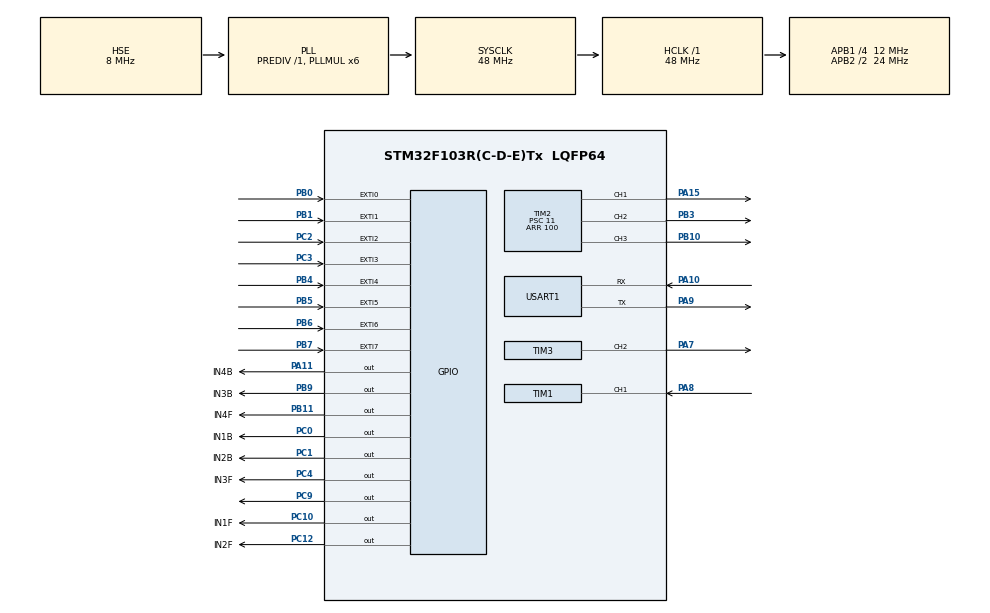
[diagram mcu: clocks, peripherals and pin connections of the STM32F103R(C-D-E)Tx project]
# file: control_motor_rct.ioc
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Mcu.Family=STM32F1
Mcu.Name=STM32F103R(C-D-E)Tx
Mcu.Package=LQFP64
NVIC.EXTI0_IRQn=true\:0\:0\:false\:false\:true\:true\:true\:true
NVIC.EXTI1_IRQn=true\:0\:0\:false\:false\:true\:true\:true\:true
NVIC.EXTI4_IRQn=true\:0\:0\:false\:false\:true\:true\:true\:true
NVIC.EXTI9_5_IRQn=true\:0\:0\:false\:false\:true\:true\:true\:true
NVIC.PriorityGroup=NVIC_PRIORITYGROUP_4
NVIC.TIM1_CC_IRQn=true\:0\:0\:false\:false\:true\:true\:true\:true
NVIC.TIM4_IRQn=true\:0\:0\:false\:false\:true\:true\:true\:true
NVIC.TIM5_IRQn=true\:0\:0\:false\:false\:true\:true\:true\:true
NVIC.USART1_IRQn=true\:0\:0\:false\:false\:true\:true\:true\:true
PA10.Mode=Asynchronous
PA10.Signal=USART1_RX
PA11.GPIO_Label=IN4B
PA11.Signal=GPIO_Output
PA13.Mode=Serial_Wire
PA13.Signal=SYS_JTMS-SWDIO
PA14.Mode=Serial_Wire
PA14.Signal=SYS_JTCK-SWCLK
PA15.Signal=S_TIM2_CH1_ETR
PA7.Signal=S_TIM3_CH2
PA8.Signal=S_TIM1_CH1
PA9.Mode=Asynchronous
PA9.Signal=USART1_TX
PB0.GPIO_ModeDefaultEXTI=GPIO_MODE_IT_RISING_FALLING
PB0.GPIO_PuPd=GPIO_PULLUP
PB0.Signal=GPXTI0
PB1.GPIO_ModeDefaultEXTI=GPIO_MODE_IT_RISING_FALLING
PB1.GPIO_PuPd=GPIO_PULLUP
PB1.Signal=GPXTI1
PB10.Signal=S_TIM2_CH3
PB11.GPIO_Label=IN4F
PB11.Signal=GPIO_Output
PB3.Signal=S_TIM2_CH2
PB4.GPIO_ModeDefaultEXTI=GPIO_MODE_IT_RISING_FALLING
PB4.GPIO_PuPd=GPIO_PULLUP
PB4.Signal=GPXTI4
PB5.GPIO_ModeDefaultEXTI=GPIO_MODE_IT_RISING_FALLING
PB5.GPIO_PuPd=GPIO_PULLUP
PB5.Signal=GPXTI5
PB6.GPIO_ModeDefaultEXTI=GPIO_MODE_IT_RISING_FALLING
PB6.GPIO_PuPd=GPIO_PULLUP
PB6.Signal=GPXTI6
PB7.GPIO_ModeDefaultEXTI=GPIO_MODE_IT_RISING_FALLING
PB7.GPIO_PuPd=GPIO_PULLUP
PB7.Signal=GPXTI7
PB9.GPIO_Label=IN3B
PB9.Signal=GPIO_Output
PC0.GPIO_Label=IN1B
PC0.Signal=GPIO_Output
PC1.GPIO_Label=IN2B
PC1.Signal=GPIO_Output
PC10.GPIO_Label=IN1F
PC10.Signal=GPIO_Output
PC12.GPIO_Label=IN2F
PC12.Signal=GPIO_Output
PC2.GPIO_ModeDefaultEXTI=GPIO_MODE_IT_RISING_FALLING
PC2.GPIO_PuPd=GPIO_PULLUP
PC2.Signal=GPXTI2
PC3.GPIO_ModeDefaultEXTI=GPIO_MODE_IT_RISING_FALLING
PC3.GPIO_PuPd=GPIO_PULLUP
PC3.Signal=GPXTI3
PC4.GPIO_Label=IN3F
PC4.Signal=GPIO_Output
PC9.GPIO_PuPd=GPIO_PULLDOWN
PC9.Signal=GPIO_Output
PD0-OSC_IN.Mode=HSE-External-Oscillator
PD0-OSC_IN.Signal=RCC_OSC_IN
PD1-OSC_OUT.Mode=HSE-External-Oscillator
PD1-OSC_OUT.Signal=RCC_OSC_OUT
ProjectManager.HeapSize=0x200
ProjectManager.StackSize=0x400
ProjectManager.TargetToolchain=MDK-ARM V5.32
RCC.AHBFreq_Value=48000000
RCC.APB1CLKDivider=RCC_HCLK_DIV4
RCC.APB1Freq_Value=12000000
RCC.APB1TimFreq_Value=24000000
RCC.APB2CLKDivider=RCC_HCLK_DIV2
RCC.APB2Freq_Value=24000000
RCC.APB2TimFreq_Value=48000000
RCC.HCLKFreq_Value=48000000
RCC.PLLMUL=RCC_PLL_MUL6
RCC.PLLSourceVirtual=RCC_PLLSOURCE_HSE
RCC.SYSCLKFreq_VALUE=48000000
RCC.SYSCLKSource=RCC_SYSCLKSOURCE_PLLCLK
RCC.USBFreq_Value=48000000
SH.S_TIM1_CH1.0=TIM1_CH1,Input_Capture1_from_TI1
SH.S_TIM2_CH1_ETR.0=TIM2_CH1,PWM Generation1 CH1
SH.S_TIM2_CH2.0=TIM2_CH2,PWM Generation2 CH2
SH.S_TIM2_CH3.0=TIM2_CH3,PWM Generation3 CH3
SH.S_TIM3_CH2.0=TIM3_CH2,PWM Generation2 CH2
TIM1.Channel-Input_Capture1_from_TI1=TIM_CHANNEL_1
TIM1.Period=0xffff-1
TIM1.Prescaler=48-1
TIM2.Channel-PWM\ Generation1\ CH1=TIM_CHANNEL_1
TIM2.Channel-PWM\ Generation2\ CH2=TIM_CHANNEL_2
TIM2.Channel-PWM\ Generation3\ CH3=TIM_CHANNEL_3
TIM2.Period=100
TIM2.Prescaler=11
TIM3.Channel-PWM\ Generation2\ CH2=TIM_CHANNEL_2
TIM3.Period=100
TIM3.Prescaler=11
TIM4.Period=4
TIM4.Prescaler=23999
TIM5.Period=4
TIM5.Prescaler=23999
USART1.VirtualMode=VM_ASYNC
VP_TIM1_VS_ClockSourceINT.Mode=Internal
VP_TIM4_VS_ClockSourceINT.Mode=Internal
VP_TIM5_VS_ClockSourceINT.Mode=Internal
board=custom

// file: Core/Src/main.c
/* USER CODE BEGIN Header */
/**
  ******************************************************************************
  * @file           : main.c
  * @brief          : Main program body
  ******************************************************************************
  * @attention
  *
  * Copyright (c) 2024 STMicroelectronics.
  * All rights reserved.
  *
  * This software is licensed under terms that can be found in the LICENSE file
  * in the root directory of this software component.
  * If no LICENSE file comes with this software, it is provided AS-IS.
  *
  ******************************************************************************
  */
/* USER CODE END Header */
#include "main.h"
/* USER CODE BEGIN Includes */
#include "string.h"
#include "stdio.h"
#include "stdlib.h"
#include "stdbool.h"
#include "global.h"
#include "math.h"
#include "gp_drive.h"
#include "front_right.h"
#include "front_left.h"
#include "behind_right.h"
#include "behind_left.h"
//#include "HC_SR04.h"
/* USER CODE END Includes */

/* USER CODE BEGIN PTD */
#define pi 3.1415
#define p2r pi/2000
//#define Kp 33.54

#define alpha 0.0
//#define Kb 1.49
#define sampletime 0.01

#define UP 1
#define DOWN 2
#define LEFT 3
#define RIGHT 4
#define UP_LEFT 5
#define UP_RIGHT 6
#define DOWN_LEFT 7
#define DOWN_RIGHT 8
/* USER CODE END PTD */

TIM_HandleTypeDef htim1;
TIM_HandleTypeDef htim2;
TIM_HandleTypeDef htim3;
TIM_HandleTypeDef htim4;
TIM_HandleTypeDef htim5;

UART_HandleTypeDef huart1;

/* USER CODE BEGIN PV */
int16_t  HILIM =100, LOLIM=0;
char Rx_indx, Rx_Buffer[20],Rx_data[2];
int volatile direction=77;
bool directionset;
Motor motors[4];
//uint8_t received_data;
char received_data[25];

uint16_t Distance = 0;
int aviod_sensor[4];
/* USER CODE END PV */

void SystemClock_Config(void);
static void MX_GPIO_Init(void);
static void MX_TIM2_Init(void);
static void MX_TIM3_Init(void);
static void MX_TIM4_Init(void);
static void MX_TIM5_Init(void);
static void MX_USART1_UART_Init(void);
static void MX_TIM1_Init(void);
/* USER CODE BEGIN PFP */
void HAL_TIM_MspPostInit(TIM_HandleTypeDef *htim);
int SetVelLow(float CurrentPos, float Pos);
int SetVelMid(float CurrentPos, float Pos, float CurrentVel);
int SetVelHigh(float CurrentPos, float Pos, float CurrentVel);
void calculateWheelSpeeds(double vx, double vy, double wz, double lx, double ly, double r, double* wheelSpeeds);
//uint8_t data [] = "vllll\n";
/* USER CODE END PFP */

/* USER CODE BEGIN 0 */

#ifdef __GNUC__
	#define PUTCHAR_PROTOTYPE int __io_putchar(int ch)
#else
	#define PUTCHAR_PROTOTYPE int fputc(int ch, FILE *f)
	#define GETCHAR_PROTOTYPE int fgetc(FILE *f)
#endif

void setSpeedAll(float speed ) {
    for (int i = 0; i < 4; i++) {
			if(directionset)
        motors[i].DesiredSpeed = speed;
    }
}

void setSpeed(float speed, int motor1, int motor2) {
        motors[motor1].DesiredSpeed = speed;
        motors[motor2].DesiredSpeed = speed;
}

void forward(void){
	for (int i = 0; i < 4; i++) {
    motors[i].dir = 1;
	}
	directionset = true;
}

void backward(void){
	for (int i = 0; i < 4; i++) {
    motors[i].dir = 0;
	}
	directionset = true;
}

void right(void){
	motors[0].dir = 0;
	motors[1].dir = 1;
	motors[2].dir = 1;
	motors[3].dir = 0;
	directionset = true;

}

void left(void){
	motors[0].dir = 1;
	motors[1].dir = 0;
	motors[2].dir = 0;
	motors[3].dir = 1;
	directionset = true;
}

void up_right(void){
	motors[1].dir = 1;
	motors[2].dir = 1;
	directionset = true;
}

void up_left(void){
	motors[0].dir = 1;
	motors[3].dir = 1;
	directionset = true;
}

void down_right(void){
	motors[1].dir = 0;
	motors[2].dir = 0;
	directionset = true;
}

void down_left(void){
	motors[0].dir = 0;
	motors[3].dir = 0;
	directionset = true;
}

void cw(void){
	motors[0].dir = 0;
	motors[1].dir = 0;
	motors[2].dir = 1;
	motors[3].dir = 1;
	directionset = true;
}
void ccw(void){
	motors[0].dir = 1;
	motors[1].dir = 1;
	motors[2].dir = 0;
	motors[3].dir = 0;
	directionset = true;
}

void config_EXTI(){
	AFIO->EXTICR[0] |= (1<<9)|(1<<13);
	EXTI->IMR |= (1<<2)|(1<<3);
	EXTI->EMR |= (1<<2)|(1<<3);
	EXTI->FTSR |= (1<<2)|(1<<3);
	EXTI->RTSR |= (1<<2)|(1<<3);

	NVIC_EnableIRQ(EXTI2_IRQn);
	NVIC_EnableIRQ(EXTI3_IRQn);
}

	// PI Controller
int PIDVel(int i, float DesiredValue, float CurrentValue) {
    if (motors[i].Ki == 0) motors[i].Kb = 0;
    motors[i].err = DesiredValue - CurrentValue;
    motors[i].up = motors[i].Kp * motors[i].err;

    motors[i].ui = motors[i].ui_p + motors[i].Ki * motors[i].err * sampletime + motors[i].Kb * motors[i].eReset * sampletime;

    motors[i].ui_p = motors[i].ui;

    motors[i].uout = (motors[i].up + motors[i].ui);
    motors[i].uHat = motors[i].uout;

    if (motors[i].uout > HILIM) {
        motors[i].uHat = HILIM;
    } else if (motors[i].uout < LOLIM) {
        motors[i].uHat = LOLIM;
    }

    motors[i].eReset = motors[i].uHat - motors[i].uout;
    return (int)round(motors[i].uHat);
}

void HAL_TIM_PeriodElapsedCallback(TIM_HandleTypeDef *htim) {	// ngat timer 4 tinh van toc
	for (int i = 0; i < 4; i++){
	//int i =1;
	if(htim->Instance==TIM4)	// ngat do timer 4	5ms
	{
		motors[i].Cnttmp = motors[i].CntVel;    // so xung trong 10ms  // 1s ngat 200 lan
		motors[i].CntVel = 0;
		motors[i].RealVel = (float)motors[i].Cnttmp*(12000.0/7392.0);			//cnttmp*(60000/N)				//RPM
		// 200*cnttmp*60 = 6000 ppm
		motors[i].CurVel = motors[i].Cnttmp*25*pi/462;								//rad/s    //(cnttmp*2pi)/7392*0.005
		//motors[i].CurVel = (motors[i].RealVel * 2*pi)/60;

		motors[i].pwm = PIDVel (i, fabs(motors[i].DesiredSpeed), motors[i].CurVel);
		//motors[i].pwm = (int)motors[i].DesiredSpeed;
		//if( flag ==1) pwm =0;
		if (motors[i].DesiredSpeed < 0){
			switch (i){
				case 0:
						HAL_GPIO_WritePin(GPIOC,IN1F_Pin, GPIO_PIN_RESET);
						HAL_GPIO_WritePin(GPIOC,IN2F_Pin, GPIO_PIN_SET);
					__HAL_TIM_SetCompare(&htim2,TIM_CHANNEL_2,motors[i].pwm); 	// set pwm
						break;
				case 1:
						HAL_GPIO_WritePin(GPIOC,IN3F_Pin, GPIO_PIN_RESET);
						HAL_GPIO_WritePin(GPIOB,IN4F_Pin, GPIO_PIN_SET);
					__HAL_TIM_SetCompare(&htim2,TIM_CHANNEL_3,motors[i].pwm); 	// set pwm
						break;

				case 2:
						HAL_GPIO_WritePin(GPIOC,IN1B_Pin, GPIO_PIN_SET);
						HAL_GPIO_WritePin(GPIOC,IN2B_Pin, GPIO_PIN_RESET);
					__HAL_TIM_SetCompare(&htim3,TIM_CHANNEL_2,motors[i].pwm); 	// set pwm
						break;
				case 3:
						HAL_GPIO_WritePin(GPIOB,IN3B_Pin, GPIO_PIN_SET);
						HAL_GPIO_WritePin(GPIOA,IN4B_Pin, GPIO_PIN_RESET);
					__HAL_TIM_SetCompare(&htim2,TIM_CHANNEL_1,motors[i].pwm); 	// set pwm
						break;
			}
		}
		else {
			switch (i){
				case 0:
						HAL_GPIO_WritePin(GPIOC,IN1F_Pin, GPIO_PIN_SET);
						HAL_GPIO_WritePin(GPIOC,IN2F_Pin, GPIO_PIN_RESET);
					__HAL_TIM_SetCompare(&htim2,TIM_CHANNEL_2,motors[i].pwm); 	// set pwm
						break;
				case 1:
						HAL_GPIO_WritePin(GPIOC,IN3F_Pin, GPIO_PIN_SET);
						HAL_GPIO_WritePin(GPIOB,IN4F_Pin, GPIO_PIN_RESET);
					__HAL_TIM_SetCompare(&htim2,TIM_CHANNEL_3,motors[i].pwm); 	// set pwm
						break;

				case 2:
						HAL_GPIO_WritePin(GPIOC,IN1B_Pin, GPIO_PIN_RESET);
						HAL_GPIO_WritePin(GPIOC,IN2B_Pin, GPIO_PIN_SET);
					__HAL_TIM_SetCompare(&htim3,TIM_CHANNEL_2,motors[i].pwm); 	// set pwm
						break;
				case 3:
						HAL_GPIO_WritePin(GPIOB,IN3B_Pin, GPIO_PIN_RESET);
						HAL_GPIO_WritePin(GPIOA,IN4B_Pin, GPIO_PIN_SET);
					__HAL_TIM_SetCompare(&htim2,TIM_CHANNEL_1,motors[i].pwm); 	// set pwm
						break;
			}
		}
		//return;
	}
	if(htim->Instance==TIM5)
	{
			motors[i].tick++;
			if (motors[i].run==0){
					motors[i].pwm = 0;
					motors[i].Speedmode =0;
			}
			else if ((motors[i].run==1)&&(motors[i].tick==5)){
				motors[i].tick=0;
			}
	}
}
}

void controlMotors(int direction) {
    switch (direction) {
        case 0:
            forward();
						setSpeedAll(1);
            break;
        case 1:

            backward();
						setSpeedAll(1);
            break;
        case 2:

            right();
						setSpeedAll(1);
            break;
        case 3:

            left();
						setSpeedAll(1);
            break;
        case 8:

            cw();
						setSpeedAll(1);
            break;
        case 9:

            ccw();
						setSpeedAll(1);
            break;

        case 4:
            up_right();
						setSpeed(1, 1, 2);
            break;
        case 5:
            up_left();
						setSpeed(1, 0, 3);
            break;
        case 6:
            down_right();
						setSpeed(1, 0, 3);
            break;
        case 7:
            down_left();
						setSpeed(1, 1, 2);
            break;

        default:

            for (int i = 0; i < 4; i++) {
                motors[i].DesiredSpeed = 0;
            }
            directionset = false;
            break;
    }
}

float value[10];
int count = 0;
void process_string(const char *input, float values[], int *count) {
    char buffer[100];
    strcpy(buffer, input);
    char *token;
    char temp[20] = "";
    float value;
    *count = 0;

    token = strtok(buffer, ",");
    while (token != NULL) {
        if (token[0] == '-' || token[0] == '+') {
            if (strlen(temp) > 0) {
                value = atof(temp);
                values[(*count)++] = value;
            }
            strcpy(temp, token);
        } else {
            strcat(temp, token);
        }

        token = strtok(NULL, ",");
    }
    if (strlen(temp) > 0) {
        value = atof(temp);
        values[(*count)++] = value;
    }
}
volatile int uart_tx_flag = 0;
int check=0;
volatile uint8_t uart_rx_flag = 0;
void HAL_UART_RxCpltCallback(UART_HandleTypeDef *huart) {
    if (huart->Instance == USART1) {
      uart_rx_flag = 1;
			uart_tx_flag = 1;
			check ++;
			HAL_UART_Receive_IT(&huart1, (uint8_t *)received_data, sizeof(received_data));
    }
}
void SendMotorVelocities(void) {
    char Tx_buffer[100]; // Buffer to hold the formatted string
    snprintf(Tx_buffer, sizeof(Tx_buffer), "FR:%.2f,FL:%.2f,BR:%.2f,BL:%.2f\n",
             motors[0].CurVel, motors[1].CurVel, motors[2].CurVel, motors[3].CurVel);

    // Transmit the buffer via UART
    HAL_UART_Transmit(&huart1, (uint8_t*)Tx_buffer, strlen(Tx_buffer), HAL_MAX_DELAY);
}

/* USER CODE END 0 */

int main(void)
{
  /* USER CODE BEGIN 1 */
	RCC->APB2ENR = (1<<3);
	Digital_Input(PB,12);
	Digital_Input(PB,13);
	Digital_Input(PB,14);
	Digital_Input(PB,15);

	GPIOB->BSRR |= GPIO_BSRR_BS12_Msk;
	GPIOB->BSRR |= GPIO_BSRR_BS13_Msk;
	GPIOB->BSRR |= GPIO_BSRR_BS14_Msk;
	GPIOB->BSRR |= GPIO_BSRR_BS15_Msk;

  /* USER CODE END 1 */

  /* MCU Configuration--------------------------------------------------------*/

  /* Reset of all peripherals, Initializes the Flash interface and the Systick. */
  HAL_Init();

  /* Configure the system clock */
  SystemClock_Config();

  /* Initialize all configured peripherals */
  MX_GPIO_Init();
  MX_TIM2_Init();
  MX_TIM3_Init();
  MX_TIM4_Init();
  MX_TIM5_Init();
  MX_USART1_UART_Init();
  MX_TIM1_Init();
	HAL_TIM_IC_Start_IT(&htim1, TIM_CHANNEL_1);
  /* USER CODE BEGIN 2 */

	config_EXTI();
	//HAL_UART_Receive_IT(&huart1,(uint8_t*)Rx_data,1);
	//HAL_UART_Receive_IT(&huart1, &received_data, 1);
	HAL_UART_Receive_IT(&huart1, (uint8_t*)received_data, sizeof(received_data));

	front_right_init();
	front_left_init();
	behind_right_init();
	behind_left_init();
// thong so FR
	  motors[0].Kp = 9.0909;
    motors[0].Ki = 110.4006;
    motors[0].Kb = 12.144;
		// thong so FL
		motors[1].Kp = 10.4545;
    motors[1].Ki = 128.1428;
    motors[1].Kb = 12.2571;

				// thong so BR
	  motors[2].Kp = 10.0;
    motors[2].Ki = 112.2448;
    motors[2].Kb = 11.2244;
		// thong so BL
		motors[3].Kp = 10.0;
    motors[3].Ki = 57.4662;
    motors[3].Kb = 5.7466;
  /* USER CODE END 2 */

  /* Infinite loop */
  /* USER CODE BEGIN WHILE */
	//HAL_UART_Transmit(&huart1, data, sizeof(data),10);

while (1)
  {
		if (uart_rx_flag) {
			uart_rx_flag = 0;

			aviod_sensor[0] = R_GP(PB,12);
			aviod_sensor[1] = R_GP(PB,13);
			aviod_sensor[2] = R_GP(PB,14);
			aviod_sensor[3] = R_GP(PB,15);
			if((aviod_sensor[0] + aviod_sensor[1]) < (aviod_sensor[2] + aviod_sensor[3])){
				motors[0].DesiredSpeed = -3;
				motors[1].DesiredSpeed = 3;
				motors[2].DesiredSpeed = 3;
				motors[3].DesiredSpeed = -3;

				HAL_Delay(2000);
			}
			else if((aviod_sensor[0] + aviod_sensor[1]) > (aviod_sensor[2] + aviod_sensor[3])){
				motors[0].DesiredSpeed = 3;
				motors[1].DesiredSpeed = -3;
				motors[2].DesiredSpeed = -3;
				motors[3].DesiredSpeed = 3;

				HAL_Delay(2000);
			}
			else if (aviod_sensor[0] == 0 && aviod_sensor[1] ==0 && aviod_sensor[2] == 0 && aviod_sensor[3] == 0){
				motors[0].DesiredSpeed = 0;
				motors[1].DesiredSpeed = 0;
				motors[2].DesiredSpeed = 0;
				motors[3].DesiredSpeed = 0;
			}

			else{
			process_string(received_data,value,&count);
			motors[0].DesiredSpeed = value[1];
			motors[1].DesiredSpeed = value[0];
			motors[2].DesiredSpeed = value[3];
			motors[3].DesiredSpeed = value[2];
			memset(received_data, 0, 25);
			}

			HAL_UART_Receive_IT(&huart1, (uint8_t *)received_data, sizeof(received_data));
			}
			if (uart_tx_flag) {
        uart_tx_flag = 0;
        SendMotorVelocities();
			}
    /* USER CODE END WHILE */

  }
}

void SystemClock_Config(void)
{
  RCC_OscInitTypeDef RCC_OscInitStruct = {0};
  RCC_ClkInitTypeDef RCC_ClkInitStruct = {0};

  /** Initializes the RCC Oscillators according to the specified parameters
  * in the RCC_OscInitTypeDef structure.
  */
  RCC_OscInitStruct.OscillatorType = RCC_OSCILLATORTYPE_HSE;
  RCC_OscInitStruct.HSEState = RCC_HSE_ON;
  RCC_OscInitStruct.HSEPredivValue = RCC_HSE_PREDIV_DIV1;
  RCC_OscInitStruct.HSIState = RCC_HSI_ON;
  RCC_OscInitStruct.PLL.PLLState = RCC_PLL_ON;
  RCC_OscInitStruct.PLL.PLLSource = RCC_PLLSOURCE_HSE;
  RCC_OscInitStruct.PLL.PLLMUL = RCC_PLL_MUL6;
  if (HAL_RCC_OscConfig(&RCC_OscInitStruct) != HAL_OK)
  {
    Error_Handler();
  }

  /** Initializes the CPU, AHB and APB buses clocks
  */
  RCC_ClkInitStruct.ClockType = RCC_CLOCKTYPE_HCLK|RCC_CLOCKTYPE_SYSCLK
                              |RCC_CLOCKTYPE_PCLK1|RCC_CLOCKTYPE_PCLK2;
  RCC_ClkInitStruct.SYSCLKSource = RCC_SYSCLKSOURCE_PLLCLK;
  RCC_ClkInitStruct.AHBCLKDivider = RCC_SYSCLK_DIV1;
  RCC_ClkInitStruct.APB1CLKDivider = RCC_HCLK_DIV4;
  RCC_ClkInitStruct.APB2CLKDivider = RCC_HCLK_DIV2;

  if (HAL_RCC_ClockConfig(&RCC_ClkInitStruct, FLASH_LATENCY_1) != HAL_OK)
  {
    Error_Handler();
  }
}

static void MX_TIM1_Init(void)
{

  TIM_ClockConfigTypeDef sClockSourceConfig = {0};
  TIM_MasterConfigTypeDef sMasterConfig = {0};
  TIM_IC_InitTypeDef sConfigIC = {0};

  htim1.Instance = TIM1;
  htim1.Init.Prescaler = 48-1;
  htim1.Init.CounterMode = TIM_COUNTERMODE_UP;
  htim1.Init.Period = 0xffff-1;
  htim1.Init.ClockDivision = TIM_CLOCKDIVISION_DIV1;
  htim1.Init.RepetitionCounter = 0;
  htim1.Init.AutoReloadPreload = TIM_AUTORELOAD_PRELOAD_DISABLE;
  if (HAL_TIM_Base_Init(&htim1) != HAL_OK)
  {
    Error_Handler();
  }
  sClockSourceConfig.ClockSource = TIM_CLOCKSOURCE_INTERNAL;
  if (HAL_TIM_ConfigClockSource(&htim1, &sClockSourceConfig) != HAL_OK)
  {
    Error_Handler();
  }
  if (HAL_TIM_IC_Init(&htim1) != HAL_OK)
  {
    Error_Handler();
  }
  sMasterConfig.MasterOutputTrigger = TIM_TRGO_RESET;
  sMasterConfig.MasterSlaveMode = TIM_MASTERSLAVEMODE_DISABLE;
  if (HAL_TIMEx_MasterConfigSynchronization(&htim1, &sMasterConfig) != HAL_OK)
  {
    Error_Handler();
  }
  sConfigIC.ICPolarity = TIM_INPUTCHANNELPOLARITY_RISING;
  sConfigIC.ICSelection = TIM_ICSELECTION_DIRECTTI;
  sConfigIC.ICPrescaler = TIM_ICPSC_DIV1;
  sConfigIC.ICFilter = 0;
  if (HAL_TIM_IC_ConfigChannel(&htim1, &sConfigIC, TIM_CHANNEL_1) != HAL_OK)
  {
    Error_Handler();
  }

}

static void MX_TIM2_Init(void)
{

  TIM_MasterConfigTypeDef sMasterConfig = {0};
  TIM_OC_InitTypeDef sConfigOC = {0};

  htim2.Instance = TIM2;
  htim2.Init.Prescaler = 11;
  htim2.Init.CounterMode = TIM_COUNTERMODE_UP;
  htim2.Init.Period = 100;
  htim2.Init.ClockDivision = TIM_CLOCKDIVISION_DIV1;
  htim2.Init.AutoReloadPreload = TIM_AUTORELOAD_PRELOAD_DISABLE;
  if (HAL_TIM_PWM_Init(&htim2) != HAL_OK)
  {
    Error_Handler();
  }
  sMasterConfig.MasterOutputTrigger = TIM_TRGO_RESET;
  sMasterConfig.MasterSlaveMode = TIM_MASTERSLAVEMODE_DISABLE;
  if (HAL_TIMEx_MasterConfigSynchronization(&htim2, &sMasterConfig) != HAL_OK)
  {
    Error_Handler();
  }
  sConfigOC.OCMode = TIM_OCMODE_PWM1;
  sConfigOC.Pulse = 0;
  sConfigOC.OCPolarity = TIM_OCPOLARITY_HIGH;
  sConfigOC.OCFastMode = TIM_OCFAST_DISABLE;
  if (HAL_TIM_PWM_ConfigChannel(&htim2, &sConfigOC, TIM_CHANNEL_1) != HAL_OK)
  {
    Error_Handler();
  }
  if (HAL_TIM_PWM_ConfigChannel(&htim2, &sConfigOC, TIM_CHANNEL_2) != HAL_OK)
  {
    Error_Handler();
  }
  if (HAL_TIM_PWM_ConfigChannel(&htim2, &sConfigOC, TIM_CHANNEL_3) != HAL_OK)
  {
    Error_Handler();
  }
  HAL_TIM_MspPostInit(&htim2);

}

static void MX_TIM3_Init(void)
{

  TIM_MasterConfigTypeDef sMasterConfig = {0};
  TIM_OC_InitTypeDef sConfigOC = {0};

  htim3.Instance = TIM3;
  htim3.Init.Prescaler = 11;
  htim3.Init.CounterMode = TIM_COUNTERMODE_UP;
  htim3.Init.Period = 100;
  htim3.Init.ClockDivision = TIM_CLOCKDIVISION_DIV1;
  htim3.Init.AutoReloadPreload = TIM_AUTORELOAD_PRELOAD_DISABLE;
  if (HAL_TIM_PWM_Init(&htim3) != HAL_OK)
  {
    Error_Handler();
  }
  sMasterConfig.MasterOutputTrigger = TIM_TRGO_RESET;
  sMasterConfig.MasterSlaveMode = TIM_MASTERSLAVEMODE_DISABLE;
  if (HAL_TIMEx_MasterConfigSynchronization(&htim3, &sMasterConfig) != HAL_OK)
  {
    Error_Handler();
  }
  sConfigOC.OCMode = TIM_OCMODE_PWM1;
  sConfigOC.Pulse = 0;
  sConfigOC.OCPolarity = TIM_OCPOLARITY_HIGH;
  sConfigOC.OCFastMode = TIM_OCFAST_DISABLE;
  if (HAL_TIM_PWM_ConfigChannel(&htim3, &sConfigOC, TIM_CHANNEL_2) != HAL_OK)
  {
    Error_Handler();
  }
  HAL_TIM_MspPostInit(&htim3);

}

static void MX_TIM4_Init(void)
{

  TIM_ClockConfigTypeDef sClockSourceConfig = {0};
  TIM_MasterConfigTypeDef sMasterConfig = {0};

  htim4.Instance = TIM4;
  htim4.Init.Prescaler = 23999;
  htim4.Init.CounterMode = TIM_COUNTERMODE_UP;
  htim4.Init.Period = 4;
  htim4.Init.ClockDivision = TIM_CLOCKDIVISION_DIV1;
  htim4.Init.AutoReloadPreload = TIM_AUTORELOAD_PRELOAD_DISABLE;
  if (HAL_TIM_Base_Init(&htim4) != HAL_OK)
  {
    Error_Handler();
  }
  sClockSourceConfig.ClockSource = TIM_CLOCKSOURCE_INTERNAL;
  if (HAL_TIM_ConfigClockSource(&htim4, &sClockSourceConfig) != HAL_OK)
  {
    Error_Handler();
  }
  sMasterConfig.MasterOutputTrigger = TIM_TRGO_RESET;
  sMasterConfig.MasterSlaveMode = TIM_MASTERSLAVEMODE_DISABLE;
  if (HAL_TIMEx_MasterConfigSynchronization(&htim4, &sMasterConfig) != HAL_OK)
  {
    Error_Handler();
  }

}

static void MX_TIM5_Init(void)
{

  TIM_ClockConfigTypeDef sClockSourceConfig = {0};
  TIM_MasterConfigTypeDef sMasterConfig = {0};

  htim5.Instance = TIM5;
  htim5.Init.Prescaler = 23999;
  htim5.Init.CounterMode = TIM_COUNTERMODE_UP;
  htim5.Init.Period = 4;
  htim5.Init.ClockDivision = TIM_CLOCKDIVISION_DIV1;
  htim5.Init.AutoReloadPreload = TIM_AUTORELOAD_PRELOAD_DISABLE;
  if (HAL_TIM_Base_Init(&htim5) != HAL_OK)
  {
    Error_Handler();
  }
  sClockSourceConfig.ClockSource = TIM_CLOCKSOURCE_INTERNAL;
  if (HAL_TIM_ConfigClockSource(&htim5, &sClockSourceConfig) != HAL_OK)
  {
    Error_Handler();
  }
  sMasterConfig.MasterOutputTrigger = TIM_TRGO_RESET;
  sMasterConfig.MasterSlaveMode = TIM_MASTERSLAVEMODE_DISABLE;
  if (HAL_TIMEx_MasterConfigSynchronization(&htim5, &sMasterConfig) != HAL_OK)
  {
    Error_Handler();
  }

}

static void MX_USART1_UART_Init(void)
{

  huart1.Instance = USART1;
  huart1.Init.BaudRate = 9600;
  huart1.Init.WordLength = UART_WORDLENGTH_8B;
  huart1.Init.StopBits = UART_STOPBITS_1;
  huart1.Init.Parity = UART_PARITY_NONE;
  huart1.Init.Mode = UART_MODE_TX_RX;
  huart1.Init.HwFlowCtl = UART_HWCONTROL_NONE;
  huart1.Init.OverSampling = UART_OVERSAMPLING_16;
  if (HAL_UART_Init(&huart1) != HAL_OK)
  {
    Error_Handler();
  }

}

static void MX_GPIO_Init(void)
{
  GPIO_InitTypeDef GPIO_InitStruct = {0};

  /* GPIO Ports Clock Enable */
  __HAL_RCC_GPIOD_CLK_ENABLE();
  __HAL_RCC_GPIOC_CLK_ENABLE();
  __HAL_RCC_GPIOA_CLK_ENABLE();
  __HAL_RCC_GPIOB_CLK_ENABLE();

  /*Configure GPIO pin Output Level */
  HAL_GPIO_WritePin(GPIOC, IN1B_Pin|IN2B_Pin|IN3F_Pin|GPIO_PIN_9
                          |IN1F_Pin|IN2F_Pin, GPIO_PIN_RESET);

  /*Configure GPIO pin Output Level */
  HAL_GPIO_WritePin(GPIOB, IN4F_Pin|IN3B_Pin, GPIO_PIN_RESET);

  /*Configure GPIO pin Output Level */
  HAL_GPIO_WritePin(IN4B_GPIO_Port, IN4B_Pin, GPIO_PIN_RESET);

  /*Configure GPIO pins : IN1B_Pin IN2B_Pin IN3F_Pin IN1F_Pin
                           IN2F_Pin */
  GPIO_InitStruct.Pin = IN1B_Pin|IN2B_Pin|IN3F_Pin|IN1F_Pin
                          |IN2F_Pin;
  GPIO_InitStruct.Mode = GPIO_MODE_OUTPUT_PP;
  GPIO_InitStruct.Pull = GPIO_NOPULL;
  GPIO_InitStruct.Speed = GPIO_SPEED_FREQ_LOW;
  HAL_GPIO_Init(GPIOC, &GPIO_InitStruct);

  /*Configure GPIO pins : PC2 PC3 */
  GPIO_InitStruct.Pin = GPIO_PIN_2|GPIO_PIN_3;
  GPIO_InitStruct.Mode = GPIO_MODE_IT_RISING_FALLING;
  GPIO_InitStruct.Pull = GPIO_PULLUP;
  HAL_GPIO_Init(GPIOC, &GPIO_InitStruct);

  /*Configure GPIO pins : PB0 PB1 PB4 PB5
                           PB6 PB7 */
  GPIO_InitStruct.Pin = GPIO_PIN_0|GPIO_PIN_1|GPIO_PIN_4|GPIO_PIN_5
                          |GPIO_PIN_6|GPIO_PIN_7;
  GPIO_InitStruct.Mode = GPIO_MODE_IT_RISING_FALLING;
  GPIO_InitStruct.Pull = GPIO_PULLUP;
  HAL_GPIO_Init(GPIOB, &GPIO_InitStruct);

  /*Configure GPIO pins : IN4F_Pin IN3B_Pin */
  GPIO_InitStruct.Pin = IN4F_Pin|IN3B_Pin;
  GPIO_InitStruct.Mode = GPIO_MODE_OUTPUT_PP;
  GPIO_InitStruct.Pull = GPIO_NOPULL;
  GPIO_InitStruct.Speed = GPIO_SPEED_FREQ_LOW;
  HAL_GPIO_Init(GPIOB, &GPIO_InitStruct);

  /*Configure GPIO pin : PC9 */
  GPIO_InitStruct.Pin = GPIO_PIN_9;
  GPIO_InitStruct.Mode = GPIO_MODE_OUTPUT_PP;
  GPIO_InitStruct.Pull = GPIO_PULLDOWN;
  GPIO_InitStruct.Speed = GPIO_SPEED_FREQ_LOW;
  HAL_GPIO_Init(GPIOC, &GPIO_InitStruct);

  /*Configure GPIO pin : IN4B_Pin */
  GPIO_InitStruct.Pin = IN4B_Pin;
  GPIO_InitStruct.Mode = GPIO_MODE_OUTPUT_PP;
  GPIO_InitStruct.Pull = GPIO_NOPULL;
  GPIO_InitStruct.Speed = GPIO_SPEED_FREQ_LOW;
  HAL_GPIO_Init(IN4B_GPIO_Port, &GPIO_InitStruct);

  /* EXTI interrupt init*/
  HAL_NVIC_SetPriority(EXTI0_IRQn, 0, 0);
  HAL_NVIC_EnableIRQ(EXTI0_IRQn);

  HAL_NVIC_SetPriority(EXTI1_IRQn, 0, 0);
  HAL_NVIC_EnableIRQ(EXTI1_IRQn);

  HAL_NVIC_SetPriority(EXTI4_IRQn, 0, 0);
  HAL_NVIC_EnableIRQ(EXTI4_IRQn);

  HAL_NVIC_SetPriority(EXTI9_5_IRQn, 0, 0);
  HAL_NVIC_EnableIRQ(EXTI9_5_IRQn);

}

void Error_Handler(void)
{
  __disable_irq();
  while (1)
  {
  }
}
